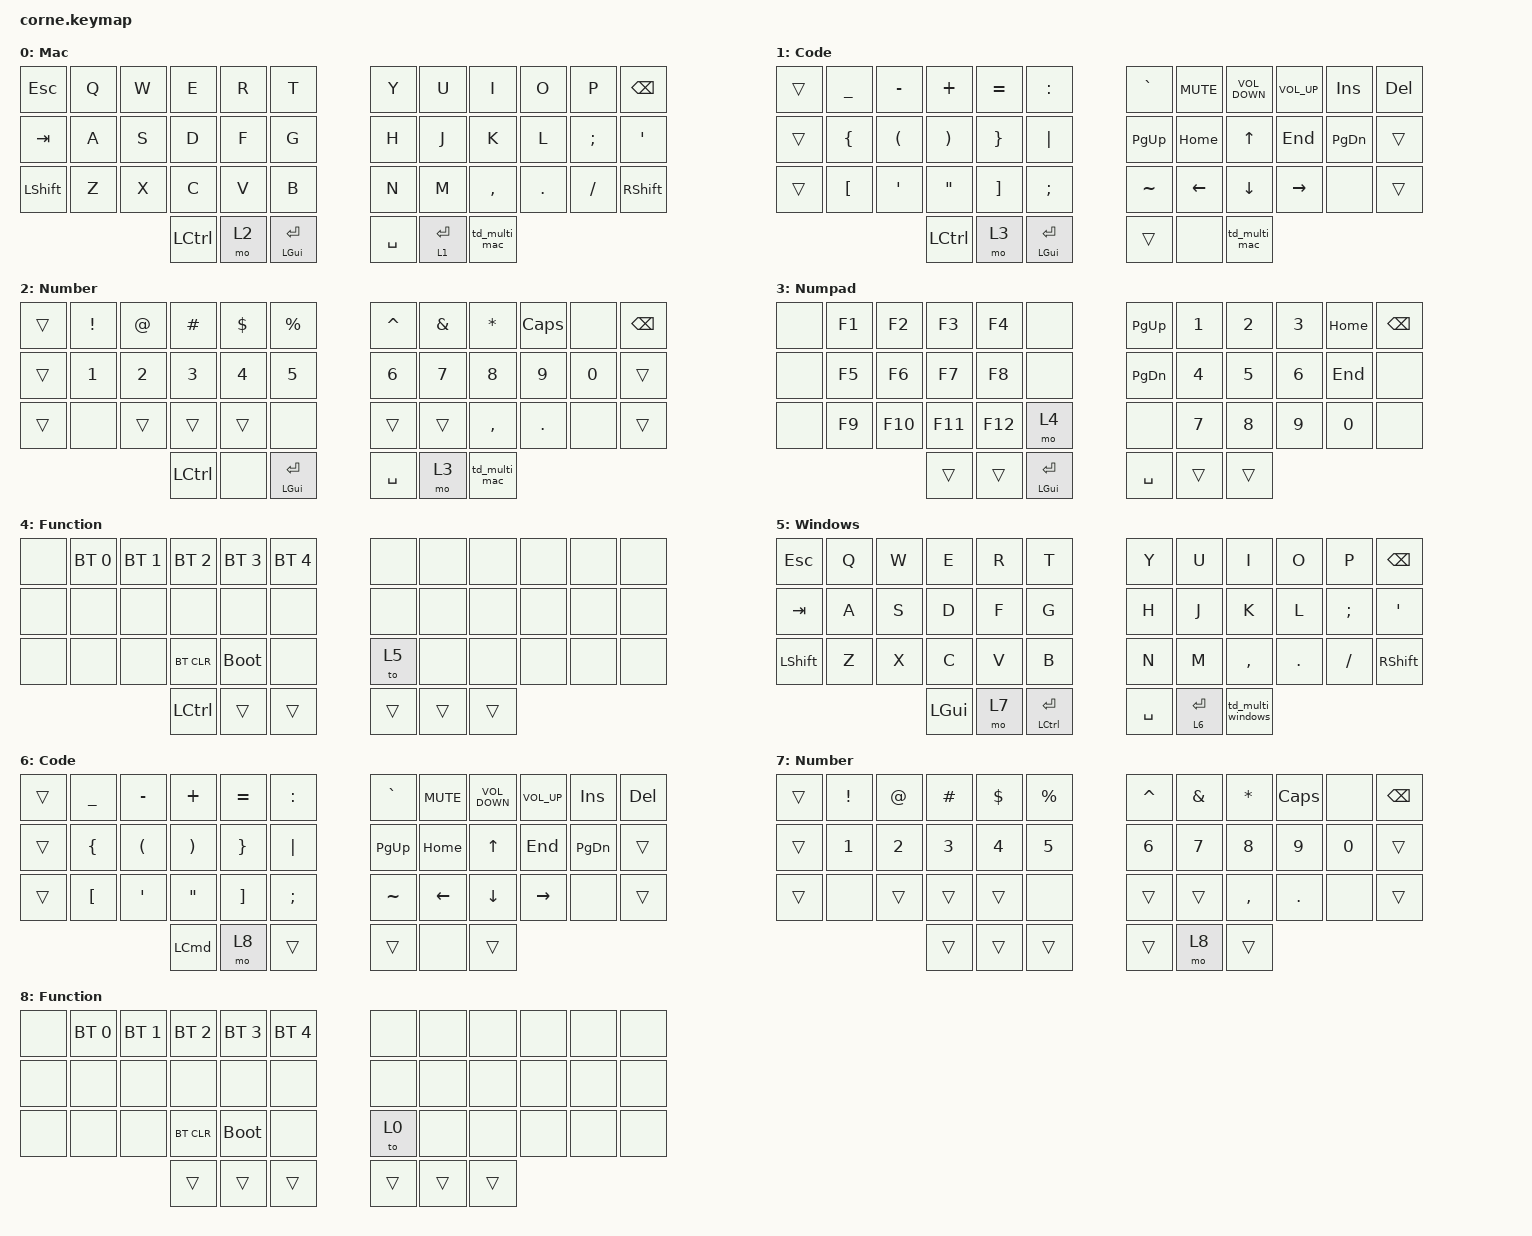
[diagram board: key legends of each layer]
#include <behaviors.dtsi>
#include <dt-bindings/zmk/bt.h>
#include <dt-bindings/zmk/keys.h>

// Layers

#define MAC 4
#define MAC_CODE 5
#define MAC_NUM 6
#define MAC_FUNC 7
#define WIN 0
#define WIN_CODE 1
#define WIN_NUM 2
#define WIN_FUNC 3

/ {
    //combos {
    //  compatible = "zmk,combos";
    //combo_tab {
    //  timeout-ms = <20>;
    //  key-positions = <1 2>;
    //  bindings = <&kp TAB>;
    //};
    //  combo_enter {
    //    timeout-ms = <20>;
    //  key-positions = <13 14>;
    //bindings = <&kp ENTER>;
    //};
    //};

    macros {
        spotlight: spotlight {
            label = "spotlight";
            compatible = "zmk,behavior-macro";
            #binding-cells = <0>;
            bindings =
                <&macro_press>,
                <&kp LGUI>,
                <&macro_tap>,
                <&kp SPACE>,
                <&macro_release>,
                <&kp LGUI>;
        };

        // Emoji

        mac_emoji: mac_emoji {
            label = "mac_emoji";
            compatible = "zmk,behavior-macro";
            #binding-cells = <0>;
            bindings =
                <&macro_press>,
                <&kp LGUI>,
                <&macro_press>,
                <&kp LCTRL>,
                <&macro_tap>,
                <&kp SPACE>,
                <&macro_release>,
                <&kp LCTRL>,
                <&macro_release>,
                <&kp LGUI>;
        };

        win_emoji: win_emoji {
            label = "win_emoji";
            compatible = "zmk,behavior-macro";
            #binding-cells = <0>;
            bindings =
                <&macro_press>,
                <&kp LGUI>,
                <&macro_tap>,
                <&kp DOT>,
                <&macro_release>,
                <&kp LGUI>;
        };
    };

    behaviors {
        td_multi_mac: tap_dance_multi_mac {
            compatible = "zmk,behavior-tap-dance";
            label = "TAP_DANCE_MULTI_MAC";
            #binding-cells = <0>;
            tapping-term-ms = <200>;
            bindings = <&kp ESC>, <&spotlight>, <&mac_emoji>;
        };

        td_multi_windows: tap_dance_multi_windows {
            compatible = "zmk,behavior-tap-dance";
            label = "TAP_DANCE_MULTI_WINDOWS";
            #binding-cells = <0>;
            tapping-term-ms = <200>;
            bindings = <&kp ESC>, <&kp LGUI>, <&win_emoji>;
        };

        bm: bottom_row_mods {
            compatible = "zmk,behavior-hold-tap";
            label = "BOTTOM_ROW_MODS";
            #binding-cells = <2>;
            tapping-term-ms = <135>;
            quick-tap-ms = <0>;
            flavor = "tap-preferred";
            bindings = <&kp>, <&kp>;
        };

        cm: code_row_mods {
            compatible = "zmk,behavior-hold-tap";
            label = "CODE_ROW_MODS";
            #binding-cells = <2>;
            tapping-term-ms = <200>;
            quick-tap-ms = <0>;
            flavor = "tap-preferred";
            bindings = <&kp>, <&kp>;

            retro-tap;
        };

        sm: space_mod {
            compatible = "zmk,behavior-hold-tap";
            label = "SPACE_MOD";
            #binding-cells = <2>;
            flavor = "balanced";
            tapping-term-ms = <200>;
            quick-tap-ms = <125>;
            bindings = <&kp>, <&kp>;
        };
    };

    keymap {
        compatible = "zmk,keymap";

        mac_default_layer {
            label = "Mac";
            bindings = <
&kp ESCAPE  &kp Q  &kp W  &kp E      &kp R  &kp T             &kp Y      &kp U        &kp I          &kp O    &kp P     &kp BSPC
&kp TAB     &kp A  &kp S  &kp D      &kp F  &kp G             &kp H      &kp J        &kp K          &kp L    &kp SEMI  &kp SQT
&kp LSHFT   &kp Z  &kp X  &kp C      &kp V  &kp B             &kp N      &kp M        &kp COMMA      &kp DOT  &kp FSLH  &kp RSHFT
                          &kp LCTRL  &mo 2  &sm LGUI ENTER    &kp SPACE  &lt 1 ENTER  &td_multi_mac
            >;
        };

        mac_R_layer {
            label = "Code";
            bindings = <
&trans  &kp UNDER         &kp MINUS  &kp PLUS          &kp EQUAL  &kp COLON             &kp GRAVE  &kp C_MUTE      &kp C_VOLUME_DOWN  &kp C_VOLUME_UP  &kp INSERT     &kp DELETE
&trans  &kp LBRC          &kp LPAR   &kp RPAR          &kp RBRC   &kp PIPE              &kp PG_UP  &kp HOME        &kp UP_ARROW       &kp END          &kp PAGE_DOWN  &trans
&trans  &kp LEFT_BRACKET  &kp APOS   &kp DQT           &kp RBKT   &kp SEMI              &kp TILDE  &kp LEFT_ARROW  &kp DOWN_ARROW     &kp RIGHT_ARROW  &none          &trans
                                     &kp LEFT_CONTROL  &mo 3      &sm LEFT_GUI ENTER    &trans     &none           &td_multi_mac
            >;
        };

        mac_L_layer {
            label = "Number";
            bindings = <
&trans  &kp EXCL  &kp AT  &kp HASH          &kp DLLR  &kp PRCNT             &kp CARET  &kp AMPS  &kp ASTERISK   &kp CAPS  &none   &kp BACKSPACE
&trans  &kp N1    &kp N2  &kp N3            &kp N4    &kp N5                &kp N6     &kp N7    &kp N8         &kp N9    &kp N0  &trans
&trans  &none     &trans  &trans            &trans    &none                 &trans     &trans    &kp COMMA      &kp DOT   &none   &trans
                          &kp LEFT_CONTROL  &none     &sm LEFT_GUI ENTER    &kp SPACE  &mo 3     &td_multi_mac
            >;
        };

        mac_numpad_layer {
            label = "Numpad";
            bindings = <
&none  &kp F1  &kp F2   &kp F3   &kp F4   &none                 &kp PAGE_UP  &kp N1  &kp N2  &kp N3  &kp HOME  &kp BACKSPACE
&none  &kp F5  &kp F6   &kp F7   &kp F8   &none                 &kp PG_DN    &kp N4  &kp N5  &kp N6  &kp END   &none
&none  &kp F9  &kp F10  &kp F11  &kp F12  &mo 4                 &none        &kp N7  &kp N8  &kp N9  &kp N0    &none
                        &trans   &trans   &sm LEFT_GUI ENTER    &kp SPACE    &trans  &trans
            >;
        };

        mac_function_layer {
            label = "Function";
            bindings = <
&none  &bt BT_SEL 0  &bt BT_SEL 1  &bt BT_SEL 2      &bt BT_SEL 3  &bt BT_SEL 4    &none   &none   &none   &none  &none  &none
&none  &none         &none         &none             &none         &none           &none   &none   &none   &none  &none  &none
&none  &none         &none         &bt BT_CLR        &bootloader   &none           &to 5   &none   &none   &none  &none  &none
                                   &kp LEFT_CONTROL  &trans        &trans          &trans  &trans  &trans
            >;
        };

        windows_default_layer {
            label = "Windows";
            bindings = <
&kp ESCAPE  &kp Q  &kp W  &kp E     &kp R  &kp T              &kp Y      &kp U        &kp I              &kp O    &kp P     &kp BSPC
&kp TAB     &kp A  &kp S  &kp D     &kp F  &kp G              &kp H      &kp J        &kp K              &kp L    &kp SEMI  &kp SQT
&kp LSHFT   &kp Z  &kp X  &kp C     &kp V  &kp B              &kp N      &kp M        &kp COMMA          &kp DOT  &kp FSLH  &kp RSHFT
                          &kp LGUI  &mo 7  &sm LCTRL ENTER    &kp SPACE  &lt 6 ENTER  &td_multi_windows
            >;
        };

        layer_9 {
            label = "Code";
            bindings = <
&trans  &kp UNDER         &kp MINUS  &kp PLUS          &kp EQUAL  &kp COLON    &kp GRAVE  &kp C_MUTE      &kp C_VOLUME_DOWN  &kp C_VOLUME_UP  &kp INSERT     &kp DELETE
&trans  &kp LBRC          &kp LPAR   &kp RPAR          &kp RBRC   &kp PIPE     &kp PG_UP  &kp HOME        &kp UP_ARROW       &kp END          &kp PAGE_DOWN  &trans
&trans  &kp LEFT_BRACKET  &kp APOS   &kp DQT           &kp RBKT   &kp SEMI     &kp TILDE  &kp LEFT_ARROW  &kp DOWN_ARROW     &kp RIGHT_ARROW  &none          &trans
                                     &kp LEFT_COMMAND  &mo 8      &trans       &trans     &none           &trans
            >;
        };

        windows_L_layer {
            label = "Number";
            bindings = <
&trans  &kp EXCL  &kp AT  &kp HASH  &kp DLLR  &kp PRCNT    &kp CARET  &kp AMPS  &kp ASTERISK  &kp CAPS  &none   &kp BACKSPACE
&trans  &kp N1    &kp N2  &kp N3    &kp N4    &kp N5       &kp N6     &kp N7    &kp N8        &kp N9    &kp N0  &trans
&trans  &none     &trans  &trans    &trans    &none        &trans     &trans    &kp COMMA     &kp DOT   &none   &trans
                          &trans    &trans    &trans       &trans     &mo 8     &trans
            >;
        };

        windows_function_layer {
            label = "Function";
            bindings = <
&none  &bt BT_SEL 0  &bt BT_SEL 1  &bt BT_SEL 2  &bt BT_SEL 3  &bt BT_SEL 4    &none   &none   &none   &none  &none  &none
&none  &none         &none         &none         &none         &none           &none   &none   &none   &none  &none  &none
&none  &none         &none         &bt BT_CLR    &bootloader   &none           &to 0   &none   &none   &none  &none  &none
                                   &trans        &trans        &trans          &trans  &trans  &trans
            >;
        };
    };
};
